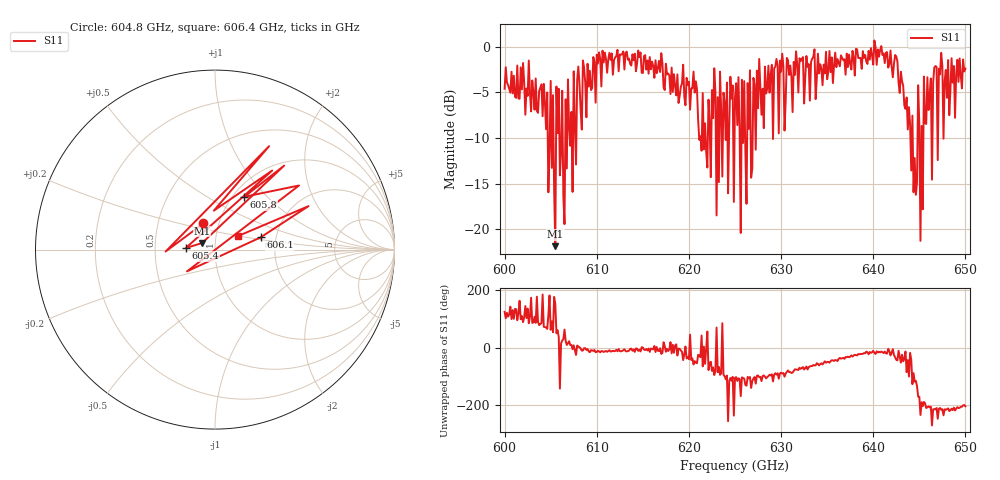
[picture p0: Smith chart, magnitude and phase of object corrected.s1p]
!Created with skrf (http://scikit-rf.org).
# GHz S MA R 50.0
!freq magS11 angS11
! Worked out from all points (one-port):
!   401 points, 600 GHz to 650 GHz, reference 50 ohm
!   lowest |S11| = -21.9 dB at 605.5 GHz (marker M1), VSWR 1.18, Z = 43.2 + j3.18 ohm
!   |S11| at or under -10 dB: 604.682 GHz to 604.8952 GHz (213.2 MHz wide, 0.0353 % of centre); 605.3064 GHz to 605.5847 GHz (278.3 MHz wide, 0.046 % of centre); 644.2866 GHz to 644.8072 GHz (520.6 MHz wide, 0.0808 % of centre) (the widest 3 of 33)
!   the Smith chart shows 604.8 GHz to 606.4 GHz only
!   S11 on the Smith chart (normalised r, x): 604.8 GHz: 0.84, +0.25; 605.4 GHz: 0.72, +0.01; 605.8 GHz: 1.13, +0.75; 606.1 GHz: 1.66, +0.24; 606.4 GHz: 1.28, +0.20
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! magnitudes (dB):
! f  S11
! 600 GHz  -4.6
! 604 GHz  -4.1
! 604.8 GHz  -15.9
! 605.4 GHz  -15.7
! 605.5 GHz  -21.9
! 605.8 GHz  -9.5
! 606.1 GHz  -11.6
! 606.2 GHz  -4.8
! 606.4 GHz  -16.4
! 608.8 GHz  -3.9
! 612.5 GHz  -0.8
! 618.8 GHz  -3.0
! 620.6 GHz  -5.0
! 621.1 GHz  -10.2
! 622.1 GHz  -5.8
! 622.6 GHz  -7.8
! 623.2 GHz  -14.8
! 625 GHz  -5.6
! 627 GHz  -3.4
! 627.6 GHz  -1.3
! 631.2 GHz  -7.2
! 637.5 GHz  -1.8
! 642.4 GHz  -0.9
! 643.8 GHz  -9.1
! 644.5 GHz  -12.2
! 645.4 GHz  -17.8
! 646 GHz  -6.9
! 650 GHz  -2.4
